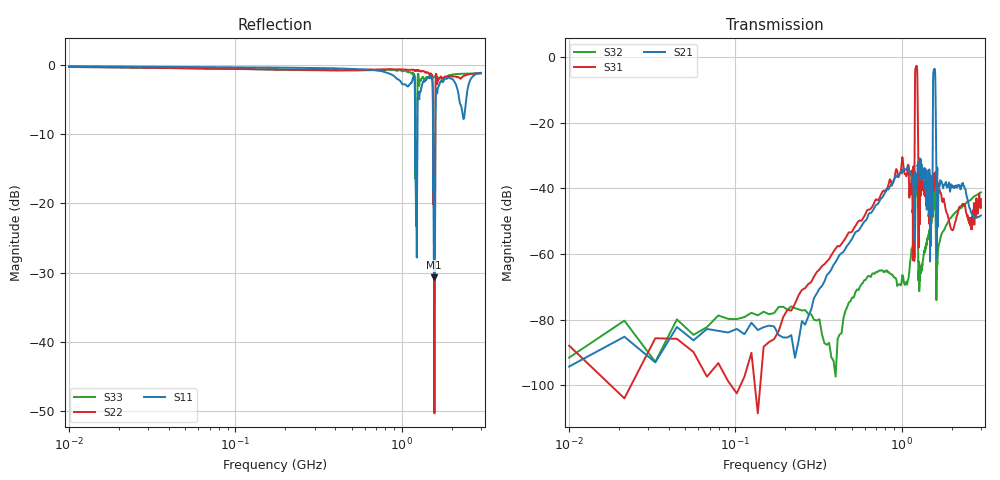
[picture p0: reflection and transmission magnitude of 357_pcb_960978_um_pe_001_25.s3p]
! TDS: K:\Engsetup\Winsaw\890084DS_SEG
! Channel 1
! Ports=1 2 3
! seg 1=10.000000 1159.900000 101
! seg 2=1160.000000 1280.000000 650
! seg 3=1280.100000 1499.900000 100
! seg 4=1500.000000 1640.000000 650
! seg 5=1640.100000 3000.000000 100
! Points=1601
! FailCode=0
! Topology=ALL_SE(123)
# MHz S DB R 50
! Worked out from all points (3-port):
!   1601 points, 10 MHz to 3 GHz, reference 50 ohm
!   strongest paths, dB at 10 MHz, 1.215 GHz, 1.389 GHz, 1.575 GHz, 3 GHz:
!     S21: -94.3, -36.2, -36.4, -3.7, -48.3
!     S31: -87.9, -3.2, -41.1, -38.1, -43.3
!     S32: -91.6, -38.1, -58.9, -41.8, -41.2
!   lowest |S11| = -30.7 dB at 1.565 GHz (marker M1), VSWR 1.06, Z = 52.4 + j1.75 ohm
!   |S11| at or under -10 dB: 1.205 GHz to 1.242 GHz (36.81 MHz wide, 3.01 % of centre); 1.545 GHz to 1.597 GHz (51.51 MHz wide, 3.28 % of centre)
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10  -0.17 178.9  -86.68 47.0  -89.19 -49.3
    -94.26 -17.0  -0.29 177.3  -80.53 84.8
    -87.90 74.3  -91.55 137.4  -0.29 177.2
182.485  -0.37 169.2  -87.07 58.6  -81.34 -142.5
         -84.68 72.0  -0.65 140.3  -77.13 53.9
         -83.40 -133.8  -76.10 46.3  -0.68 139.9
860.926  -1.32 90.4  -39.10 136.6  -37.60 139.4
         -39.10 136.6  -0.59 16.0  -65.99 116.5
         -37.61 139.3  -66.04 116.2  -0.71 1.9
1191.433  -1.49 -156.1  -45.51 10.6  -58.14 139.5
          -45.53 10.9  -0.75 -33.0  -53.92 179.4
          -57.96 138.8  -54.04 178.1  -1.40 -134.5
1224.53  -22.42 162.3  -39.32 72.3  -2.83 -105.7
         -39.32 72.5  -0.77 -37.2  -41.92 -44.5
         -2.83 -105.6  -41.91 -44.7  -21.59 73.0
1267.427  -4.03 -46.0  -33.10 49.6  -45.45 -109.2
          -33.10 49.8  -0.79 -43.7  -67.70 104.5
          -45.49 -109.3  -68.02 102.3  -1.80 8.2
1500  -1.57 -178.9  -57.47 79.1  -54.91 87.9
      -57.49 78.7  -1.26 -101.6  -50.99 179.6
      -54.86 87.5  -51.00 179.4  -1.65 -57.5
1565.146  -30.70 34.9  -3.94 -95.4  -38.17 57.8
          -3.92 -95.2  -19.97 13.3  -43.44 -43.1
          -38.19 57.7  -43.47 -43.4  -1.70 -64.7
1628.136  -3.46 -98.5  -59.41 18.1  -36.83 24.2
          -59.43 18.0  -1.75 -15.8  -64.80 161.7
          -36.84 24.2  -64.86 160.7  -1.81 -70.7
3000  -1.13 -177.6  -48.29 119.8  -43.27 90.7
      -48.25 120.0  -1.20 -117.4  -41.22 141.8
      -43.29 90.6  -41.23 141.3  -1.20 -131.2
